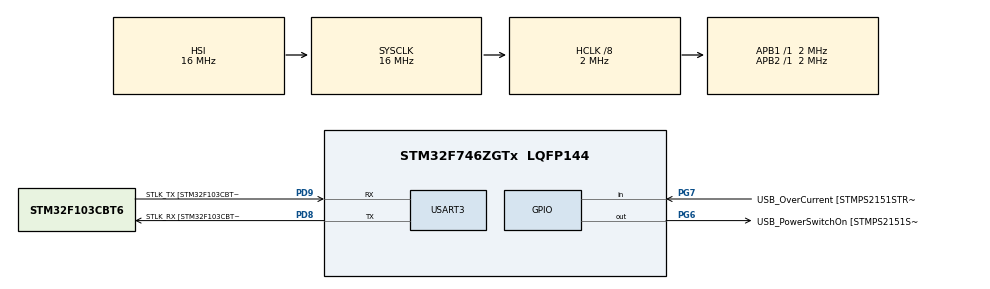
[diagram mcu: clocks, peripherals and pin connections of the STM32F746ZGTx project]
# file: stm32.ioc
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Mcu.Family=STM32F7
Mcu.Name=STM32F746ZGTx
Mcu.Package=LQFP144
NVIC.PriorityGroup=NVIC_PRIORITYGROUP_4
NVIC.TIM3_IRQn=true\:0\:0\:false\:false\:true\:true\:true\:true
PA1.GPIO_Label=RMII_REF_CLK [LAN8742A-CZ-TR_REFCLK0]
PA1.Signal=ETH_REF_CLK
PA10.GPIO_Label=USB_ID
PA10.Signal=USB_OTG_FS_ID
PA11.GPIO_Label=USB_DM
PA11.Signal=USB_OTG_FS_DM
PA12.GPIO_Label=USB_DP
PA12.Signal=USB_OTG_FS_DP
PA13.GPIO_Label=TMS
PA13.Mode=Serial_Wire
PA13.Signal=SYS_JTMS-SWDIO
PA14.GPIO_Label=TCK
PA14.Mode=Serial_Wire
PA14.Signal=SYS_JTCK-SWCLK
PA2.GPIO_Label=RMII_MDIO [LAN8742A-CZ-TR_MDIO]
PA2.Signal=ETH_MDIO
PA7.GPIO_Label=RMII_CRS_DV [LAN8742A-CZ-TR_CRS_DV]
PA7.Signal=ETH_CRS_DV
PA8.GPIO_Label=USB_SOF [TP1]
PA8.Signal=USB_OTG_FS_SOF
PA9.GPIO_Label=USB_VBUS
PA9.Signal=USB_OTG_FS_VBUS
PB13.GPIO_Label=RMII_TXD1 [LAN8742A-CZ-TR_TXD1]
PB13.Signal=ETH_TXD1
PB3.GPIO_Label=SW0
PB3.Signal=SYS_JTDO-SWO
PC1.GPIO_Label=RMII_MDC [LAN8742A-CZ-TR_MDC]
PC1.Signal=ETH_MDC
PC14/OSC32_IN.Mode=LSE-External-Oscillator
PC14/OSC32_IN.Signal=RCC_OSC32_IN
PC15/OSC32_OUT.Mode=LSE-External-Oscillator
PC15/OSC32_OUT.Signal=RCC_OSC32_OUT
PC4.GPIO_Label=RMII_RXD0 [LAN8742A-CZ-TR_RXD0]
PC4.Signal=ETH_RXD0
PC5.GPIO_Label=RMII_RXD1 [LAN8742A-CZ-TR_RXD1]
PC5.Signal=ETH_RXD1
PD8.GPIO_Label=STLK_RX [STM32F103CBT6_PA3]
PD8.GPIO_PuPd=GPIO_PULLUP
PD8.Mode=Asynchronous
PD8.Signal=USART3_TX
PD9.GPIO_Label=STLK_TX [STM32F103CBT6_PA2]
PD9.GPIO_PuPd=GPIO_PULLUP
PD9.Mode=Asynchronous
PD9.Signal=USART3_RX
PG11.GPIO_Label=RMII_TX_EN [LAN8742A-CZ-TR_TXEN]
PG11.Signal=ETH_TX_EN
PG13.GPIO_Label=RMII_TXD0 [LAN8742A-CZ-TR_TXD0]
PG13.Signal=ETH_TXD0
PG6.GPIO_Label=USB_PowerSwitchOn [STMPS2151STR_EN]
PG6.Signal=GPIO_Output
PG7.GPIO_Label=USB_OverCurrent [STMPS2151STR_FAULT]
PG7.Signal=GPIO_Input
PH0/OSC_IN.GPIO_Label=MCO [STM32F103CBT6_PA8]
PH0/OSC_IN.Mode=HSE-External-Clock-Source
PH0/OSC_IN.Signal=RCC_OSC_IN
PH1/OSC_OUT.Mode=HSE-External-Clock-Source
PH1/OSC_OUT.Signal=RCC_OSC_OUT
ProjectManager.HeapSize=0x200
ProjectManager.StackSize=0x400
ProjectManager.TargetToolchain=STM32CubeIDE
RCC.48MHZClocksFreq_Value=24000000
RCC.AHBCLKDivider=RCC_SYSCLK_DIV8
RCC.AHBFreq_Value=2000000
RCC.APB1Freq_Value=2000000
RCC.APB1TimFreq_Value=2000000
RCC.APB2Freq_Value=2000000
RCC.APB2TimFreq_Value=2000000
RCC.CortexFreq_Value=2000000
RCC.HCLKFreq_Value=2000000
RCC.HSE_VALUE=8000000
RCC.HSI_VALUE=16000000
RCC.PLLM=4
RCC.PLLMUL=RCC_PLL_MUL9
RCC.PLLN=72
RCC.PLLQ=3
RCC.PLLSourceVirtual=RCC_PLLSOURCE_HSE
RCC.PRESCALERUSB=RCC_USBCLKSOURCE_PLL_DIV1_5
RCC.SYSCLKFreq_VALUE=16000000
RCC.SYSCLKSourceVirtual=RCC_SYSCLKSOURCE_PLLCLK
RCC.USBFreq_Value=48000000
RCC.VCOOutputFreq_Value=144000000
TIM3.Period=19999
TIM3.Prescaler=999
USART3.VirtualMode-Asynchronous=VM_ASYNC
VP_RNG_VS_RNG.Mode=RNG_Activate
VP_TIM3_VS_ClockSourceINT.Mode=Internal
board=NUCLEO-F746ZG

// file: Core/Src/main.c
/* USER CODE BEGIN Header */
/**
  ******************************************************************************
  * @file           : main.c
  * @brief          : Main program body
  ******************************************************************************
  * @attention
  *
  * Copyright (c) 2024 STMicroelectronics.
  * All rights reserved.
  *
  * This software is licensed under terms that can be found in the LICENSE file
  * in the root directory of this software component.
  * If no LICENSE file comes with this software, it is provided AS-IS.
  *
  ******************************************************************************
  */
/* USER CODE END Header */
#include "main.h"
#include "rng.h"
#include "tim.h"
#include "usart.h"
#include "gpio.h"

/* USER CODE BEGIN Includes */
#include <stdio.h>
#include "ring_buffer.h"
/* USER CODE END Includes */

/* USER CODE BEGIN PV */
Dht22_t uart_buffer[BUFFER_SIZE];
RingBuffer_t cb;
/* USER CODE END PV */

void SystemClock_Config(void);
/* USER CODE BEGIN PFP */
Dht22_t RandomDht22Data(void);
/* USER CODE END PFP */

/* USER CODE BEGIN 0 */
void HAL_TIM_PeriodElapsedCallback(TIM_HandleTypeDef *htim){
}
/* USER CODE END 0 */

int main(void)
{

  /* MCU Configuration--------------------------------------------------------*/

  /* Reset of all peripherals, Initializes the Flash interface and the Systick. */
  HAL_Init();

  /* Configure the system clock */
  SystemClock_Config();

  /* Initialize all configured peripherals */
  MX_GPIO_Init();
  MX_USART3_UART_Init();
  MX_TIM3_Init();
  MX_RNG_Init();
  /* USER CODE BEGIN 2 */
  buffer_init(&cb);
  /* USER CODE END 2 */

  /* Infinite loop */
    while (1)
    {

    /* USER CODE BEGIN 3 */
       // upload the buffer if it's full
       if (buffer_is_full(&cb)) {
            //get data from buffer
            int i = 0;
            while(!buffer_is_empty(&cb)) {
                uart_buffer[i++] = buffer_read(&cb);
            }

            //send to uart
            HAL_UART_Transmit(&huart3, (uint8_t*)uart_buffer, sizeof(uart_buffer), 100);// Sending in normal mode
        }

        //put new data to buffer
        buffer_write(&cb, RandomDht22Data());

        //enter low-power mode
        HAL_TIM_Base_Start_IT(&htim3);
        HAL_SuspendTick();
        HAL_PWR_EnterSLEEPMode(PWR_MAINREGULATOR_ON,PWR_SLEEPENTRY_WFI);
        HAL_ResumeTick();
        HAL_TIM_Base_Stop_IT(&htim3);
    }
  /* USER CODE END 3 */
}

void SystemClock_Config(void)
{
  RCC_OscInitTypeDef RCC_OscInitStruct = {0};
  RCC_ClkInitTypeDef RCC_ClkInitStruct = {0};

  /** Configure LSE Drive Capability
  */
  HAL_PWR_EnableBkUpAccess();

  /** Configure the main internal regulator output voltage
  */
  __HAL_RCC_PWR_CLK_ENABLE();
  __HAL_PWR_VOLTAGESCALING_CONFIG(PWR_REGULATOR_VOLTAGE_SCALE3);

  /** Initializes the RCC Oscillators according to the specified parameters
  * in the RCC_OscInitTypeDef structure.
  */
  RCC_OscInitStruct.OscillatorType = RCC_OSCILLATORTYPE_HSI|RCC_OSCILLATORTYPE_HSE;
  RCC_OscInitStruct.HSEState = RCC_HSE_BYPASS;
  RCC_OscInitStruct.HSIState = RCC_HSI_ON;
  RCC_OscInitStruct.HSICalibrationValue = RCC_HSICALIBRATION_DEFAULT;
  RCC_OscInitStruct.PLL.PLLState = RCC_PLL_ON;
  RCC_OscInitStruct.PLL.PLLSource = RCC_PLLSOURCE_HSE;
  RCC_OscInitStruct.PLL.PLLM = 4;
  RCC_OscInitStruct.PLL.PLLN = 72;
  RCC_OscInitStruct.PLL.PLLP = RCC_PLLP_DIV2;
  RCC_OscInitStruct.PLL.PLLQ = 3;
  if (HAL_RCC_OscConfig(&RCC_OscInitStruct) != HAL_OK)
  {
    Error_Handler();
  }

  /** Initializes the CPU, AHB and APB buses clocks
  */
  RCC_ClkInitStruct.ClockType = RCC_CLOCKTYPE_HCLK|RCC_CLOCKTYPE_SYSCLK
                              |RCC_CLOCKTYPE_PCLK1|RCC_CLOCKTYPE_PCLK2;
  RCC_ClkInitStruct.SYSCLKSource = RCC_SYSCLKSOURCE_HSI;
  RCC_ClkInitStruct.AHBCLKDivider = RCC_SYSCLK_DIV8;
  RCC_ClkInitStruct.APB1CLKDivider = RCC_HCLK_DIV1;
  RCC_ClkInitStruct.APB2CLKDivider = RCC_HCLK_DIV1;

  if (HAL_RCC_ClockConfig(&RCC_ClkInitStruct, FLASH_LATENCY_0) != HAL_OK)
  {
    Error_Handler();
  }
}

/* USER CODE BEGIN 4 */
Dht22_t RandomDht22Data(void) {
    Dht22_t dht_data;
    dht_data.Tempt = (float)HAL_RNG_GetRandomNumber(&hrng)/(float)UINT32_MAX;
    dht_data.Humid = (float)HAL_RNG_GetRandomNumber(&hrng)/(float)UINT32_MAX;
    return dht_data;
}
/* USER CODE END 4 */

void Error_Handler(void)
{
  __disable_irq();
  while (1)
  {
  }
}
